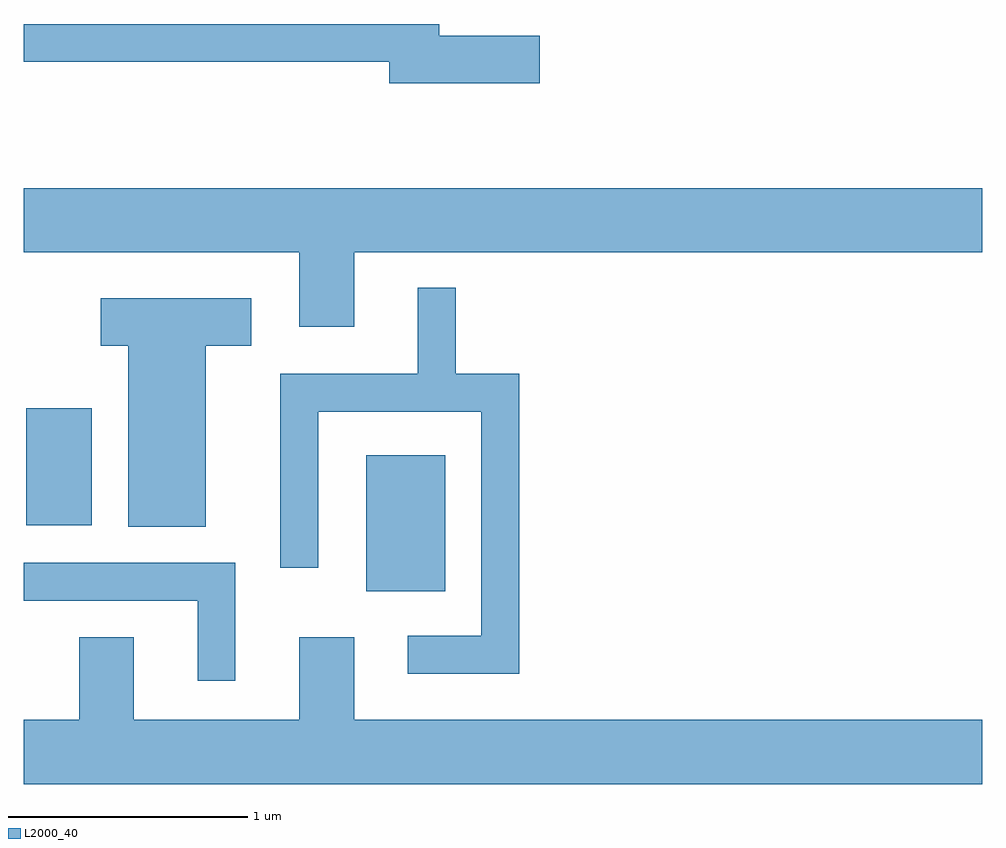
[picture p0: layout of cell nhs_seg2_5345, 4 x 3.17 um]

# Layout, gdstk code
import gdstk
lib = gdstk.Library(unit=1e-6, precision=1e-09)
def R(c, l, rs):  # rectangles x0, y0, x1, y1
    for r in rs: c.add(gdstk.rectangle(r[:2], r[2:], *l))
def P(c, l, *ps):  # polygons
    for p in ps: c.add(gdstk.Polygon(p, *l))
L2000_40 = (2000, 40)

nhs_seg2_5345 = lib.new_cell('nhs_seg2_5345')
R(nhs_seg2_5345, L2000_40, [(345.041,984.741,345.369,985.309), (343.621,985.016,343.894,985.504)])
P(nhs_seg2_5345, L2000_40, [(345.764,987.059),(345.344,987.059),(345.344,987.109),(343.611,987.109),(343.611,986.951),(345.136,986.951),(345.136,986.861),(345.764,986.861)],
  [(344.989,986.156),(347.611,986.156),(347.611,986.424),(343.611,986.424),(343.611,986.156),(344.761,986.156),(344.761,985.846),(344.989,985.846)],
  [(345.679,985.649),(345.414,985.649),(345.414,986.008),(345.256,986.008),(345.256,985.649),(344.681,985.649),(344.681,984.838),(344.839,984.838),(344.839,985.491),(345.521,985.491),(345.521,984.554),(345.213,984.554),(345.213,984.396),(345.679,984.396)],
  [(344.369,985.766),(344.559,985.766),(344.559,985.964),(343.931,985.964),(343.931,985.766),(344.046,985.766),(344.046,985.011),(344.369,985.011)],
  [(344.494,984.859),(343.611,984.859),(343.611,984.701),(344.336,984.701),(344.336,984.368),(344.494,984.368)],
  [(347.611,984.204),(344.989,984.204),(344.989,984.549),(344.761,984.549),(344.761,984.204),(344.069,984.204),(344.069,984.549),(343.841,984.549),(343.841,984.204),(343.611,984.204),(343.611,983.936),(347.611,983.936)])

lib.write_gds('nhs_seg2_5345.gds')
